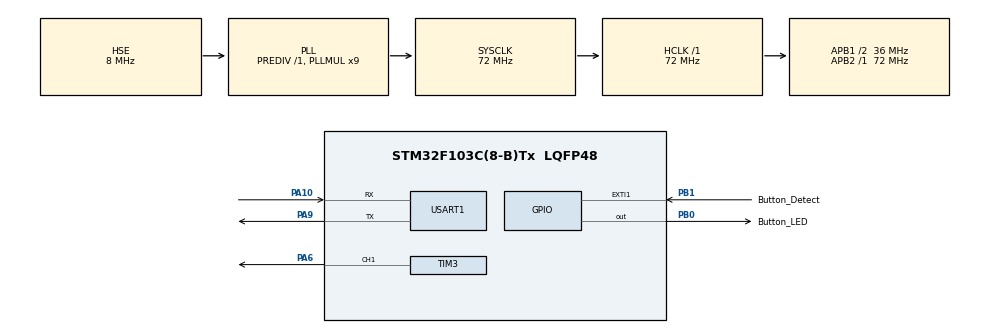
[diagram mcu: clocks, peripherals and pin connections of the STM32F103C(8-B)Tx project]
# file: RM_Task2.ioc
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Dma.Request0=USART1_RX
Dma.Request1=USART1_TX
Dma.USART1_RX.0.Direction=DMA_PERIPH_TO_MEMORY
Dma.USART1_RX.0.Instance=DMA1_Channel5
Dma.USART1_RX.0.MemDataAlignment=DMA_MDATAALIGN_BYTE
Dma.USART1_RX.0.MemInc=DMA_MINC_ENABLE
Dma.USART1_RX.0.Mode=DMA_NORMAL
Dma.USART1_RX.0.PeriphDataAlignment=DMA_PDATAALIGN_BYTE
Dma.USART1_RX.0.PeriphInc=DMA_PINC_DISABLE
Dma.USART1_RX.0.Priority=DMA_PRIORITY_LOW
Dma.USART1_TX.1.Direction=DMA_MEMORY_TO_PERIPH
Dma.USART1_TX.1.Instance=DMA1_Channel4
Dma.USART1_TX.1.MemDataAlignment=DMA_MDATAALIGN_BYTE
Dma.USART1_TX.1.MemInc=DMA_MINC_ENABLE
Dma.USART1_TX.1.Mode=DMA_NORMAL
Dma.USART1_TX.1.PeriphDataAlignment=DMA_PDATAALIGN_BYTE
Dma.USART1_TX.1.PeriphInc=DMA_PINC_DISABLE
Dma.USART1_TX.1.Priority=DMA_PRIORITY_LOW
Mcu.Family=STM32F1
Mcu.Name=STM32F103C(8-B)Tx
Mcu.Package=LQFP48
NVIC.DMA1_Channel4_IRQn=true\:0\:0\:false\:false\:true\:false\:true\:true
NVIC.DMA1_Channel5_IRQn=true\:0\:0\:false\:false\:true\:false\:true\:true
NVIC.EXTI1_IRQn=true\:15\:0\:true\:false\:true\:true\:true\:true
NVIC.PriorityGroup=NVIC_PRIORITYGROUP_4
NVIC.TIM3_IRQn=true\:0\:0\:false\:false\:true\:true\:true\:true
NVIC.USART1_IRQn=true\:0\:0\:false\:false\:true\:false\:true\:true
PA10.Mode=Asynchronous
PA10.Signal=USART1_RX
PA13.Mode=Serial_Wire
PA13.Signal=SYS_JTMS-SWDIO
PA14.Mode=Serial_Wire
PA14.Signal=SYS_JTCK-SWCLK
PA6.Signal=S_TIM3_CH1
PA9.Mode=Asynchronous
PA9.Signal=USART1_TX
PB0.GPIO_Label=Button_LED
PB0.Signal=GPIO_Output
PB1.GPIO_Label=Button_Detect
PB1.GPIO_ModeDefaultEXTI=GPIO_MODE_IT_FALLING
PB1.GPIO_PuPd=GPIO_PULLUP
PB1.Signal=GPXTI1
PD0-OSC_IN.Mode=HSE-External-Oscillator
PD0-OSC_IN.Signal=RCC_OSC_IN
PD1-OSC_OUT.Mode=HSE-External-Oscillator
PD1-OSC_OUT.Signal=RCC_OSC_OUT
ProjectManager.HeapSize=0x200
ProjectManager.StackSize=0x400
ProjectManager.TargetToolchain=MDK-ARM V5.32
RCC.AHBFreq_Value=72000000
RCC.APB1CLKDivider=RCC_HCLK_DIV2
RCC.APB1Freq_Value=36000000
RCC.APB1TimFreq_Value=72000000
RCC.APB2Freq_Value=72000000
RCC.APB2TimFreq_Value=72000000
RCC.HCLKFreq_Value=72000000
RCC.PLLMUL=RCC_PLL_MUL9
RCC.PLLSourceVirtual=RCC_PLLSOURCE_HSE
RCC.SYSCLKFreq_VALUE=72000000
RCC.SYSCLKSource=RCC_SYSCLKSOURCE_PLLCLK
RCC.USBFreq_Value=72000000
SH.S_TIM3_CH1.0=TIM3_CH1,PWM Generation1 CH1
TIM3.Channel-PWM\ Generation1\ CH1=TIM_CHANNEL_1
TIM3.OCPolarity_1=TIM_OCPOLARITY_LOW
TIM3.Period=1000-1
TIM3.Prescaler=72-1
USART1.VirtualMode=VM_ASYNC
board=custom

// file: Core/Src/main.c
/* USER CODE BEGIN Header */
/**
  ******************************************************************************
  * @file           : main.c
  * @brief          : Main program body
  ******************************************************************************
  * @attention
  *
  * Copyright (c) 2026 STMicroelectronics.
  * All rights reserved.
  *
  * This software is licensed under terms that can be found in the LICENSE file
  * in the root directory of this software component.
  * If no LICENSE file comes with this software, it is provided AS-IS.
  *
  ******************************************************************************
  */
/* USER CODE END Header */
#include "main.h"
#include "dma.h"
#include "tim.h"
#include "usart.h"
#include "gpio.h"

/* USER CODE BEGIN Includes */
#include <stdio.h>
#include <string.h>

/* USER CODE END Includes */

/* USER CODE BEGIN PV */
int TIM_COUNTER_DIRECTION = 1;
unsigned char SerialPort_Data[32] = "";
unsigned char SerialPort_TxData[48] = "";

/* USER CODE END PV */

void SystemClock_Config(void);

int main(void)
{

  /* MCU Configuration--------------------------------------------------------*/

  /* Reset of all peripherals, Initializes the Flash interface and the Systick. */
  HAL_Init();

  /* Configure the system clock */
  SystemClock_Config();

  /* Initialize all configured peripherals */
  MX_GPIO_Init();
  MX_DMA_Init();
  MX_TIM3_Init();
  MX_USART1_UART_Init();
  /* USER CODE BEGIN 2 */
  HAL_TIM_PWM_Start_IT(&htim3,TIM_CHANNEL_1);
  __HAL_TIM_ENABLE_IT(&htim3,TIM_IT_UPDATE);

  HAL_UARTEx_ReceiveToIdle_DMA(&huart1,SerialPort_Data,sizeof(SerialPort_Data));
  __HAL_DMA_DISABLE_IT(huart1.hdmarx,DMA_IT_HT);

  /* USER CODE END 2 */

  /* Infinite loop */
  while (1)
  {

  }
}

void SystemClock_Config(void)
{
  RCC_OscInitTypeDef RCC_OscInitStruct = {0};
  RCC_ClkInitTypeDef RCC_ClkInitStruct = {0};

  /** Initializes the RCC Oscillators according to the specified parameters
  * in the RCC_OscInitTypeDef structure.
  */
  RCC_OscInitStruct.OscillatorType = RCC_OSCILLATORTYPE_HSE;
  RCC_OscInitStruct.HSEState = RCC_HSE_ON;
  RCC_OscInitStruct.HSEPredivValue = RCC_HSE_PREDIV_DIV1;
  RCC_OscInitStruct.HSIState = RCC_HSI_ON;
  RCC_OscInitStruct.PLL.PLLState = RCC_PLL_ON;
  RCC_OscInitStruct.PLL.PLLSource = RCC_PLLSOURCE_HSE;
  RCC_OscInitStruct.PLL.PLLMUL = RCC_PLL_MUL9;
  if (HAL_RCC_OscConfig(&RCC_OscInitStruct) != HAL_OK)
  {
    Error_Handler();
  }

  /** Initializes the CPU, AHB and APB buses clocks
  */
  RCC_ClkInitStruct.ClockType = RCC_CLOCKTYPE_HCLK|RCC_CLOCKTYPE_SYSCLK
                              |RCC_CLOCKTYPE_PCLK1|RCC_CLOCKTYPE_PCLK2;
  RCC_ClkInitStruct.SYSCLKSource = RCC_SYSCLKSOURCE_PLLCLK;
  RCC_ClkInitStruct.AHBCLKDivider = RCC_SYSCLK_DIV1;
  RCC_ClkInitStruct.APB1CLKDivider = RCC_HCLK_DIV2;
  RCC_ClkInitStruct.APB2CLKDivider = RCC_HCLK_DIV1;

  if (HAL_RCC_ClockConfig(&RCC_ClkInitStruct, FLASH_LATENCY_2) != HAL_OK)
  {
    Error_Handler();
  }
}

/* USER CODE BEGIN 4 */
//使PWM输出电平呈三角形状变化
void HAL_TIM_PeriodElapsedCallback(TIM_HandleTypeDef* htim){
  if (htim->Instance == TIM3){
    uint32_t COMPARER_COUNT = __HAL_TIM_GET_COMPARE(htim,TIM_CHANNEL_1);
    Label_COUNTER_Up:
    if (TIM_COUNTER_DIRECTION == TIM_COUNTER_FORWARD){
      if (COMPARER_COUNT == TIM_COUNTER_MAX) {
        TIM_COUNTER_DIRECTION = TIM_COUNTER_BACKWARD;
        goto Label_COUNTER_Down;
      }
      __HAL_TIM_SET_COMPARE(htim,TIM_CHANNEL_1,COMPARER_COUNT+1);
    }
    Label_COUNTER_Down:
    if (TIM_COUNTER_DIRECTION == TIM_COUNTER_BACKWARD){
      if (COMPARER_COUNT == 0){
        TIM_COUNTER_DIRECTION = TIM_COUNTER_FORWARD;
        goto Label_COUNTER_Up;
      }
      __HAL_TIM_SET_COMPARE(htim,TIM_CHANNEL_1,COMPARER_COUNT-1);
    }
  }
}
//将收到的数据发回
void HAL_UARTEx_RxEventCallback(UART_HandleTypeDef *huart, uint16_t Size){
  if (huart == &huart1){
    char Resend_Data[40] = "";
    sprintf(Resend_Data,"Success:%s",(char*)SerialPort_Data);
    HAL_UART_Transmit_DMA(huart,(uint8_t*)Resend_Data,
  (uint16_t)strlen(Resend_Data));
    memset(SerialPort_Data,0,sizeof(SerialPort_Data));
    HAL_UARTEx_ReceiveToIdle_DMA(huart,SerialPort_Data,sizeof(SerialPort_Data));
    __HAL_DMA_DISABLE_IT(huart->hdmarx,DMA_IT_HT);
   }
}
//按键触发电平下降沿中断触发点灯
void HAL_GPIO_EXTI_Callback(uint16_t GPIO_PIN){
  if (GPIO_PIN == Button_Detect_Pin){
    HAL_Delay(20);
    if (HAL_GPIO_ReadPin(Button_Detect_GPIO_Port,Button_Detect_Pin) ==
  GPIO_PIN_RESET){
      HAL_GPIO_TogglePin(Button_LED_GPIO_Port,Button_LED_Pin);
    }
  }
}

/* USER CODE END 4 */

void Error_Handler(void)
{
  __disable_irq();
  while (1)
  {
  }
}
